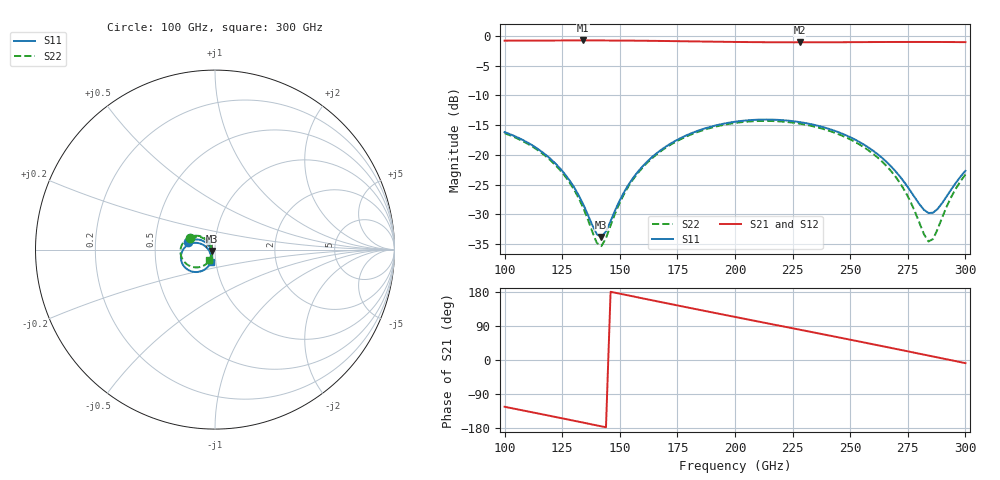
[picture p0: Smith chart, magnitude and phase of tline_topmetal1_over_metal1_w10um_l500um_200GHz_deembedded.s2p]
! Created with skrf 2.0.1 (http://scikit-rf.org).
# GHz S DB R 50.0
!freq dBS11 angS11 dBS21 angS21 dBS12 angS12 dBS22 angS22
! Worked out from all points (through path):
!   101 points, 100 GHz to 300 GHz, reference 50 ohm
!   highest |S21| = -0.76 dB at 134 GHz (marker M1); lowest = -1.1 dB at 228 GHz (marker M2)
!   group delay of S21, straight-line fit = 3.39 ps
!   lowest |S11| = -33.8 dB at 142 GHz (marker M3), VSWR 1.04, Z = 48.1 - j0.714 ohm
!   |S11| at or under -10 dB: start of sweep to end of sweep
!   |S22| runs from -35.3 to -14.3 dB; largest |S21 - S12| = 1.1e-14
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100  -16.17 163.9  -0.80 -123.4  -0.80 -123.4  -16.35 155.8
120  -20.69 145.7  -0.78 -147.8  -0.78 -147.8  -20.94 135.3
128  -24.18 142.7  -0.77 -157.7  -0.77 -157.7  -24.53 130.9
134  -28.21 148.0  -0.76 -165.1  -0.76 -165.1  -28.80 134.6
140  -33.33 179.9  -0.77 -172.6  -0.77 -172.6  -34.78 167.8
142  -33.81 -158.7  -0.77 -175.0  -0.77 -175.0  -35.34 -166.9
154  -24.88 -107.9  -0.79 170.0  -0.79 170.0  -25.14 -116.3
160  -21.88 -108.6  -0.81 162.6  -0.81 162.6  -22.08 -118.4
168  -19.13 -113.8  -0.85 152.7  -0.85 152.7  -19.32 -124.9
182  -16.22 -126.6  -0.92 135.5  -0.92 135.5  -16.41 -139.4
200  -14.43 -144.8  -1.01 113.7  -1.01 113.7  -14.63 -159.6
214  -14.06 -159.1  -1.06 96.9  -1.06 96.9  -14.29 -175.4
228  -14.48 -173.2  -1.08 80.1  -1.08 80.1  -14.74 168.8
234  -14.92 -179.0  -1.08 72.9  -1.08 72.9  -15.20 162.1
254  -17.83 163.5  -1.04 48.7  -1.04 48.7  -18.24 141.0
268  -22.04 157.5  -1.02 31.5  -1.02 31.5  -22.84 130.4
274  -24.86 161.1  -1.01 24.1  -1.01 24.1  -26.24 130.5
284  -29.77 -160.7  -1.02 11.7  -1.02 11.7  -34.56 178.9
286  -29.71 -147.4  -1.02 9.2  -1.02 9.2  -34.14 -157.6
288  -29.06 -135.3  -1.02 6.7  -1.02 6.7  -32.43 -140.0
294  -25.72 -114.2  -1.03 -0.8  -1.03 -0.8  -26.97 -120.8
300  -22.67 -108.4  -1.05 -8.2  -1.05 -8.2  -23.30 -119.4
